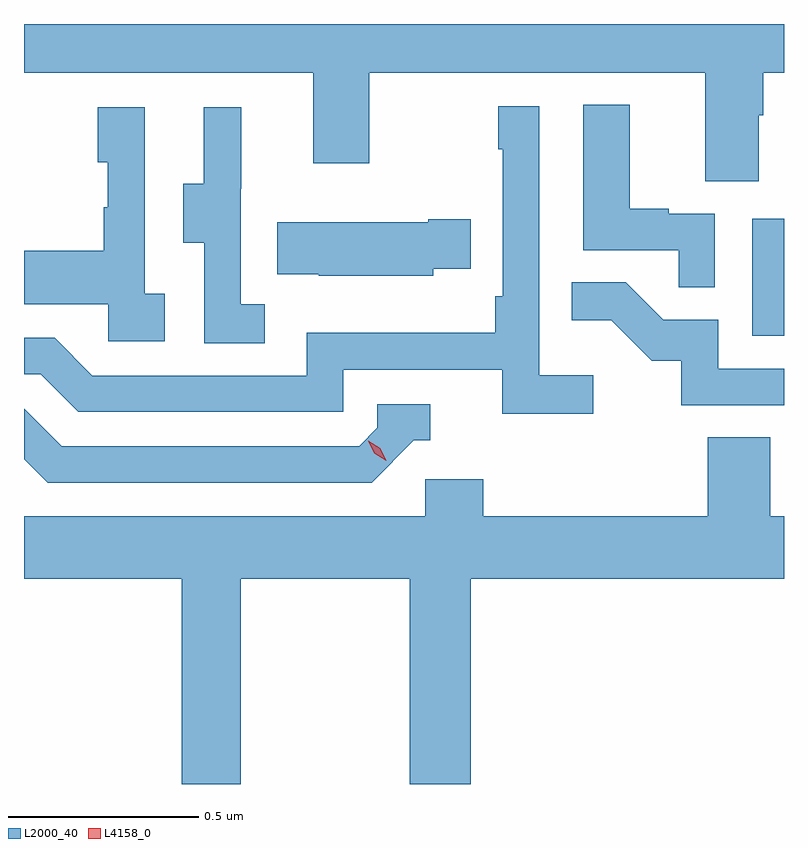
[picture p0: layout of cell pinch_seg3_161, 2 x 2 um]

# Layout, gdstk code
import gdstk
lib = gdstk.Library(unit=1e-6, precision=1e-09)
def R(c, l, rs):  # rectangles x0, y0, x1, y1
    for r in rs: c.add(gdstk.rectangle(r[:2], r[2:], *l))
def P(c, l, *ps):  # polygons
    for p in ps: c.add(gdstk.Polygon(p, *l))
L2000_40 = (2000, 40)
L4158_0 = (4158, 0)

pinch_seg3_161 = lib.new_cell('pinch_seg3_161')
R(pinch_seg3_161, L2000_40, [(1095.764,717.54,1095.848,717.847)])
P(pinch_seg3_161, L2000_40, [(1095.781,718.12),(1095.794,718.12),(1095.794,718.232),(1095.848,718.232),(1095.848,718.36),(1093.848,718.36),(1093.848,718.232),(1094.609,718.232),(1094.609,717.993),(1094.757,717.993),(1094.757,718.232),(1095.641,718.232),(1095.641,717.946),(1095.781,717.946)],
  [(1095.666,717.861),(1095.545,717.861),(1095.545,717.874),(1095.442,717.874),(1095.442,718.147),(1095.32,718.147),(1095.32,717.765),(1095.571,717.765),(1095.571,717.667),(1095.666,717.667)],
  [(1095.346,717.436),(1095.204,717.436),(1095.204,718.144),(1095.096,718.144),(1095.096,718.031),(1095.108,718.031),(1095.108,717.643),(1095.088,717.643),(1095.088,717.547),(1094.592,717.547),(1094.592,717.435),(1094.028,717.435),(1093.929,717.534),(1093.848,717.534),(1093.848,717.438),(1093.892,717.438),(1093.991,717.339),(1094.688,717.339),(1094.688,717.45),(1095.107,717.45),(1095.107,717.334),(1095.346,717.334)],
  [(1094.218,717.65),(1094.166,717.65),(1094.166,718.141),(1094.042,718.141),(1094.042,717.996),(1094.068,717.996),(1094.068,717.878),(1094.058,717.878),(1094.058,717.763),(1093.848,717.763),(1093.848,717.623),(1094.07,717.623),(1094.07,717.525),(1094.218,717.525)],
  [(1094.482,717.623),(1094.418,717.623),(1094.418,717.927),(1094.42,717.927),(1094.42,718.141),(1094.321,718.141),(1094.321,717.939),(1094.267,717.939),(1094.267,717.784),(1094.322,717.784),(1094.322,717.52),(1094.482,717.52)],
  [(1094.925,717.716),(1095.023,717.716),(1095.023,717.846),(1094.912,717.846),(1094.912,717.838),(1094.515,717.838),(1094.515,717.701),(1094.623,717.701),(1094.623,717.698),(1094.925,717.698)],
  [(1095.848,717.453),(1095.675,717.453),(1095.675,717.582),(1095.53,717.582),(1095.432,717.68),(1095.289,717.68),(1095.289,717.581),(1095.393,717.581),(1095.5,717.474),(1095.577,717.474),(1095.577,717.357),(1095.848,717.357)],
  [(1094.874,717.264),(1094.917,717.264),(1094.917,717.36),(1094.778,717.36),(1094.778,717.297),(1094.73,717.249),(1093.947,717.249),(1093.848,717.348),(1093.848,717.215),(1093.91,717.153),(1094.763,717.153)],
  [(1095.023,716.9),(1095.848,716.9),(1095.848,717.064),(1095.812,717.064),(1095.812,717.272),(1095.647,717.272),(1095.647,717.064),(1095.056,717.064),(1095.056,717.162),(1094.904,717.162),(1094.904,717.064),(1093.848,717.064),(1093.848,716.9),(1094.263,716.9),(1094.263,716.36),(1094.418,716.36),(1094.418,716.9),(1094.863,716.9),(1094.863,716.36),(1095.023,716.36)])
P(pinch_seg3_161, L4158_0, [(1094.801,717.211),(1094.77,717.23),(1094.754,717.262),(1094.754,717.263),(1094.754,717.263),(1094.785,717.243),(1094.801,717.211),(1094.801,717.211)])

lib.write_gds('pinch_seg3_161.gds')
